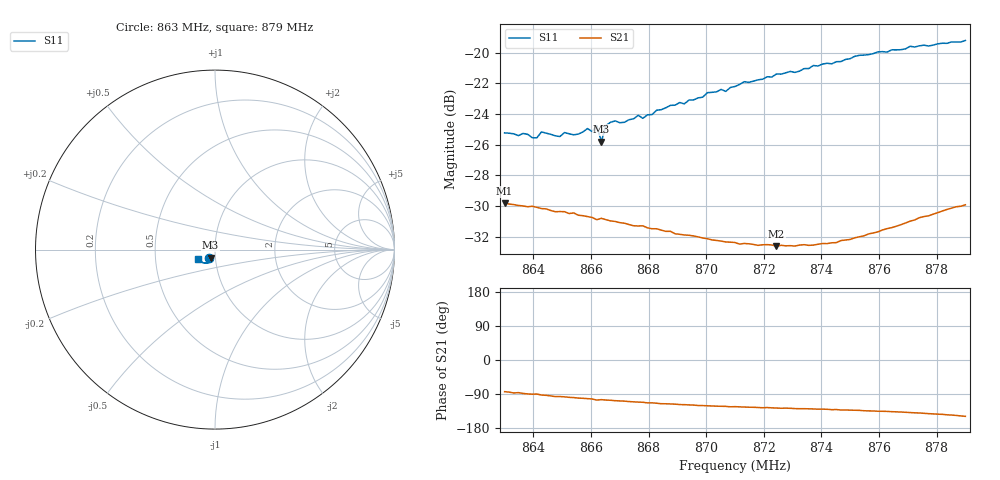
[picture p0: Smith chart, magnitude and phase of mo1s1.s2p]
# HZ S RI R 50
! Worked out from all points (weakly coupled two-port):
!   101 points, 863 MHz to 879 MHz, reference 50 ohm
!   highest |S21| = -29.81 dB at 863 MHz (marker M1); lowest = -32.6 dB at 872.44 MHz (marker M2)
!   lowest |S11| = -25.8 dB at 866.36 MHz (marker M3), VSWR 1.11, Z = 47.4 - j4.29 ohm
!   |S11| at or under -10 dB: start of sweep to end of sweep
!   S12 and S22 are empty: the file has one direction only
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8.63e8  -0.0311 -0.0451  0.00366 -0.0321  0 0  0 0
8.6412e8  -0.025 -0.0465  9.3e-05 -0.0314  0 0  0 0
8.6428e8  -0.0253 -0.0491  -0.00132 -0.031  0 0  0 0
8.6492e8  -0.0235 -0.0479  -0.0034 -0.0302  0 0  0 0
8.6508e8  -0.024 -0.0494  -0.00382 -0.0301  0 0  0 0
8.6572e8  -0.0211 -0.051  -0.00564 -0.0289  0 0  0 0
8.6588e8  -0.0226 -0.0519  -0.00604 -0.0286  0 0  0 0
8.6604e8  -0.0206 -0.0513  -0.00651 -0.0283  0 0  0 0
8.662e8  -0.0225 -0.0532  -0.00777 -0.0275  0 0  0 0
8.6636e8  -0.0245 -0.0451  -0.0073 -0.0279  0 0  0 0
8.6652e8  -0.0206 -0.0541  -0.00774 -0.0275  0 0  0 0
8.6668e8  -0.0215 -0.0553  -0.00794 -0.0272  0 0  0 0
8.6716e8  -0.021 -0.0555  -0.00885 -0.0264  0 0  0 0
8.6764e8  -0.0221 -0.0585  -0.0098 -0.0255  0 0  0 0
8.678e8  -0.0205 -0.0576  -0.01 -0.0254  0 0  0 0
8.6844e8  -0.0227 -0.0611  -0.0113 -0.0239  0 0  0 0
8.71e8  -0.0317 -0.0708  -0.0132 -0.0202  0 0  0 0
8.7244e8  -0.0423 -0.0739  -0.014 -0.0188  0 0  0 0
8.7372e8  -0.0501 -0.0757  -0.0149 -0.0183  0 0  0 0
8.7452e8  -0.0568 -0.0741  -0.0157 -0.0182  0 0  0 0
8.7644e8  -0.0732 -0.0711  -0.0195 -0.0186  0 0  0 0
8.79e8  -0.0946 -0.0552  -0.0273 -0.0166  0 0  0 0
